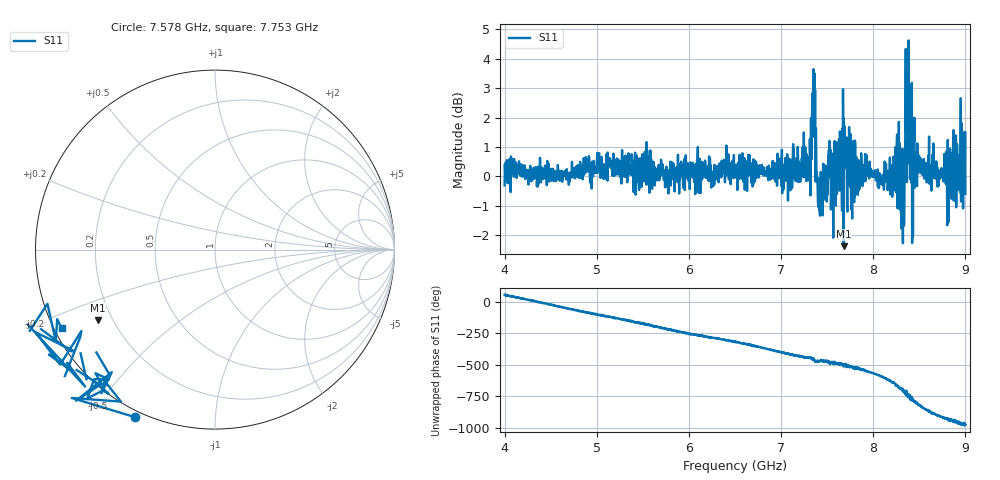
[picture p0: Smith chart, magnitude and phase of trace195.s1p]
! Created with skrf 1.8.0 (http://scikit-rf.org).
# Hz S RI R 50.0
!freq ReS11 ImS11
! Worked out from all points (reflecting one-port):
!   1601 points, 4 GHz to 9 GHz, reference 50 ohm
!   lowest |S11| = -2.4 dB at 7.678 GHz (marker M1), VSWR 7.39, Z = 7.28 - j13.6 ohm
!   phase of S11 starts at 53 deg and turns -1028 deg over the sweep
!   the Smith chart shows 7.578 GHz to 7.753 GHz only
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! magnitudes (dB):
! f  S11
! 4 GHz  -0.3
! 4.1 GHz  0.0
! 4.625 GHz  -0.2
! 5.25 GHz  0.2
! 5.875 GHz  0.2
! 6.5 GHz  0.0
! 7.125 GHz  0.1
! 7.294 GHz  0.6
! 7.347 GHz  2.6
! 7.372 GHz  1.4
! 7.397 GHz  -0.5
! 7.425 GHz  -0.2
! 7.512 GHz  0.7
! 7.566 GHz  -2.1
! 7.609 GHz  -0.1
! 7.65 GHz  1.3
! 7.678 GHz  -2.4
! 7.75 GHz  -0.3
! 7.769 GHz  -1.0
! 8.094 GHz  -0.2
! 8.259 GHz  1.4
! 8.312 GHz  0.7
! 8.375 GHz  0.4
! 8.447 GHz  2.0
! 8.459 GHz  0.0
! 8.825 GHz  0.8
! 8.972 GHz  0.3
! 9 GHz  -0.6
